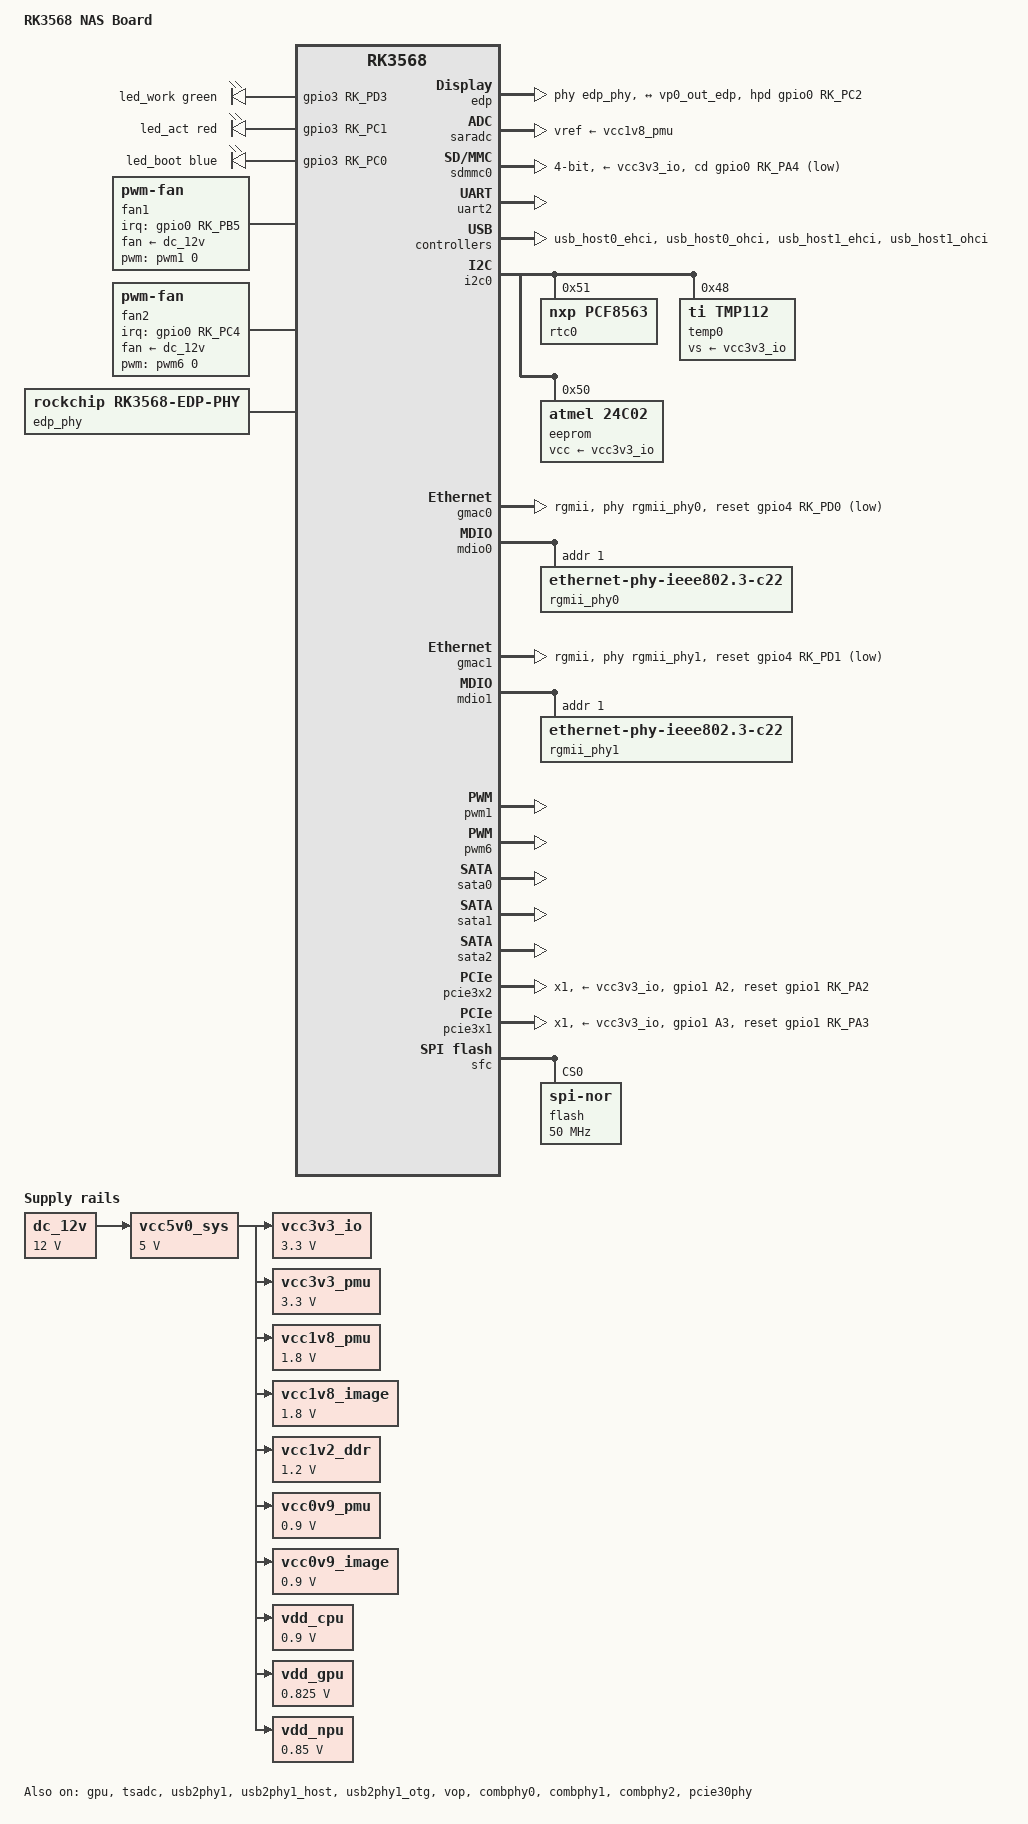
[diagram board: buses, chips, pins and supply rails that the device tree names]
// SPDX-License-Identifier: (GPL-2.0+ OR MIT)
/*
 * Copyright (c) 2021 Rockchip Electronics Co., Ltd.
 *
 */

/dts-v1/;
#include <dt-bindings/gpio/gpio.h>
#include <dt-bindings/leds/common.h>
#include <dt-bindings/pwm/pwm.h>
#include <dt-bindings/pinctrl/rockchip.h>
#include <dt-bindings/soc/rockchip,vop2.h>
#include <dt-bindings/display/drm_mipi_dsi.h>
#include "rk3568.dtsi"

/ {
	model = "RK3568 NAS Board";
	compatible = "nas,rk3568", "rockchip,rk3568";

	aliases {
		mmc0 = &sdmmc0;
		eth0 = &gmac0;
		eth1 = &gmac1;
	};

	chosen: chosen {
		stdout-path = "serial2:1500000n8";
	};

	leds {
		compatible = "gpio-leds";

		led_work: led-0 {
			gpios = <&gpio3 RK_PD3 GPIO_ACTIVE_HIGH>;
			function = LED_FUNCTION_STATUS;
			color = <LED_COLOR_ID_GREEN>;
			linux,default-trigger = "default-on";
			default-state="on";
			pinctrl-names = "default";
			pinctrl-0 = <&led_hb_en>;
		};

		led_act: led-1 {
			gpios = <&gpio3 RK_PC1 GPIO_ACTIVE_HIGH>;
			function = LED_FUNCTION_DISK_ACTIVITY;
			linux,default-trigger = "disk-activity";
			color = <LED_COLOR_ID_RED>;
			pinctrl-names = "default";
			pinctrl-0 = <&led_act_en>;
		};

		led_boot: led-2 {
			gpios = <&gpio3 RK_PC0 GPIO_ACTIVE_HIGH>;
			function = LED_FUNCTION_BOOT;
			color = <LED_COLOR_ID_BLUE>;
			pinctrl-names = "default";
			pinctrl-0 = <&led_boot_en>;
		};
	};


	fan1: pwm-fan1 {
		compatible = "pwm-fan";
		pwms = <&pwm1 0 40000 0>;
		fan-supply = <&dc_12v>;
		interrupt-parent = <&gpio0>;
		interrupts = <RK_PB5 IRQ_TYPE_EDGE_FALLING>;
		pulses-per-revolution = <1>;
	};

	fan2: pwm-fan2 {
		compatible = "pwm-fan";
		pwms = <&pwm6 0 40000 0>;
		fan-supply = <&dc_12v>;
		interrupt-parent = <&gpio0>;
		interrupts = <RK_PC4 IRQ_TYPE_EDGE_FALLING>;
		pulses-per-revolution = <1>;
	};

	dc_12v: dc-12v {
		compatible = "regulator-fixed";
		regulator-name = "dc_12v";
		regulator-always-on;
		regulator-boot-on;
		regulator-min-microvolt = <12000000>;
		regulator-max-microvolt = <12000000>;
	};

	vcc5v0_sys: vcc5v0-sys {
		compatible = "regulator-fixed";
		regulator-name = "vcc5v0_sys";
		regulator-always-on;
		regulator-boot-on;
		regulator-min-microvolt = <5000000>;
		regulator-max-microvolt = <5000000>;
		vin-supply = <&dc_12v>;
	};

	vcc3v3_io: vcc3v3-io {
		compatible = "regulator-fixed";
		regulator-name = "vcc3v3_io";
		regulator-always-on;
		regulator-boot-on;
		regulator-min-microvolt = <3300000>;
		regulator-max-microvolt = <3300000>;
		vin-supply = <&vcc5v0_sys>;
	};

	vcc3v3_pmu: vcc3v3-pmu {
		compatible = "regulator-fixed";
		regulator-name = "vcc3v3_pmu";
		regulator-always-on;
		regulator-boot-on;
		regulator-min-microvolt = <3300000>;
		regulator-max-microvolt = <3300000>;
		vin-supply = <&vcc5v0_sys>;
	}; 

	vcc1v8_pmu: vcc1v8-pmu {
		compatible = "regulator-fixed";
		regulator-name = "vcc1v8_pmu";
		regulator-always-on;
		regulator-boot-on;
		regulator-min-microvolt = <1800000>;
		regulator-max-microvolt = <1800000>;
		vin-supply = <&vcc5v0_sys>;
	}; 

	vcc1v8_image: vcc1v8-image {
		compatible = "regulator-fixed";
		regulator-name = "vcc1v8_image";
		regulator-always-on;
		regulator-boot-on;
		regulator-min-microvolt = <1800000>;
		regulator-max-microvolt = <1800000>;
		vin-supply = <&vcc5v0_sys>;
	}; 

	vcc1v2_ddr: vcc1v2-ddr {
		compatible = "regulator-fixed";
		regulator-name = "vcc1v2_ddr";
		regulator-always-on;
		regulator-boot-on;
		regulator-min-microvolt = <1200000>;
		regulator-max-microvolt = <1200000>;
		vin-supply = <&vcc5v0_sys>;
	}; 

	vcc0v9_pmu: vcc0v9-pmu {
		compatible = "regulator-fixed";
		regulator-name = "vcc0v9_pmu";
		regulator-always-on;
		regulator-boot-on;
		regulator-min-microvolt = <900000>;
		regulator-max-microvolt = <900000>;
		vin-supply = <&vcc5v0_sys>;
	}; 

	vcc0v9_image: vcc0v9-image {
		compatible = "regulator-fixed";
		regulator-name = "vcc0v9_image";
		regulator-always-on;
		regulator-boot-on;
		regulator-min-microvolt = <900000>;
		regulator-max-microvolt = <900000>;
		vin-supply = <&vcc5v0_sys>;
	}; 

	vdd_cpu: vdd-cpu {
		compatible = "regulator-fixed";
		regulator-name = "vdd_cpu";
		regulator-always-on;
		regulator-boot-on;
		regulator-min-microvolt = <900000>;
		regulator-max-microvolt = <900000>;
		vin-supply = <&vcc5v0_sys>;
	}; 

	vdd_gpu: vdd-gpu {
		compatible = "regulator-fixed";
		regulator-name = "vdd_gpu";
		regulator-always-on;
		regulator-boot-on;
		regulator-min-microvolt = <825000>;
		regulator-max-microvolt = <825000>;
		vin-supply = <&vcc5v0_sys>;
	}; 

	vdd_npu: vdd-npu {
		compatible = "regulator-fixed";
		regulator-name = "vdd_npu";
		regulator-always-on;
		regulator-boot-on;
		regulator-min-microvolt = <850000>;
		regulator-max-microvolt = <850000>;
		vin-supply = <&vcc5v0_sys>;
	}; 

edp: edp@fe0c0000 {
	compatible = "rockchip,rk3568-edp";
	reg = <0x0 0xfe0c0000 0x0 0x10000>;
	interrupts = <GIC_SPI 18 IRQ_TYPE_LEVEL_HIGH>;
	clocks = <&pmucru XIN_OSC0_EDPPHY_G>, <&cru PCLK_EDP_CTRL>,
			<&cru CLK_EDP_200M>, <&cru HCLK_VO>;
	clock-names = "dp", "pclk", "spdif", "hclk";
	resets = <&cru SRST_EDP_24M>, <&cru SRST_P_EDP_CTRL>;
	reset-names = "dp", "apb";
	phys = <&edp_phy>;
	phy-names = "dp";
	power-domains = <&power RK3568_PD_VO>;
	status = "okay";

    hpd-gpios = <&gpio0 RK_PC2 GPIO_ACTIVE_HIGH>;

	ports {
		#address-cells = <1>;
		#size-cells = <0>;

		edp_in: port@0 {
			reg = <0>;
			#address-cells = <1>;
			#size-cells = <0>;

			edp_in_vp0: endpoint@0 {
				reg = <0>;
				remote-endpoint = <&vp0_out_edp>;
				status = "okay";
			};
		};
	};
};

edp_phy_grf: syscon@fdcb0000 {
	compatible = "rockchip,rk3568-edp-phy-grf", "syscon", "simple-mfd";
	reg = <0x0 0xfdcb0000 0x0 0x100>;
	clocks = <&cru PCLK_EDPPHY_GRF>;

	edp_phy: edp-phy {
		compatible = "rockchip,rk3568-edp-phy";
		clocks = <&pmucru XIN_OSC0_EDPPHY_G>;
		clock-names = "refclk";
		#phy-cells = <0>;
		status = "okay";
	};
};


};

&cpu0 {
	cpu-supply = <&vdd_cpu>;
};

&cpu1 {
	cpu-supply = <&vdd_cpu>;
};

&cpu2 {
	cpu-supply = <&vdd_cpu>;
};

&cpu3 {
	cpu-supply = <&vdd_cpu>;
};

&gpu {
	mali-supply = <&vdd_gpu>;
	status = "okay";
};

&pmu_io_domains {
	pmuio1-supply = <&vcc3v3_pmu>;
	pmuio2-supply = <&vcc3v3_pmu>;
	vccio1-supply = <&vcc3v3_io>;
	vccio2-supply = <&vcc3v3_io>;
	vccio3-supply = <&vcc3v3_io>;
	vccio4-supply = <&vcc1v8_image>;
	vccio5-supply = <&vcc1v8_image>;
	vccio6-supply = <&vcc3v3_io>;
	vccio7-supply = <&vcc3v3_io>;
	status = "okay";
};

&saradc {
	vref-supply = <&vcc1v8_pmu>;
	status = "okay";
};

&sdmmc0 {
	bus-width = <4>;
	cap-sd-highspeed;
	cd-gpios = <&gpio0 RK_PA4 GPIO_ACTIVE_LOW>;
	disable-wp;
	pinctrl-names = "default";
	pinctrl-0 = <&sdmmc0_bus4 &sdmmc0_clk &sdmmc0_cmd &sdmmc0_det>;
	vmmc-supply = <&vcc3v3_io>;
	vqmmc-supply = <&vcc3v3_io>;
	status = "okay";
};

&tsadc {
	rockchip,hw-tshut-mode = <1>;
	rockchip,hw-tshut-polarity = <0>;
	status = "okay";
};

&uart2 {
	status = "okay";
};


&pinctrl {

	leds {
		led_hb_en: led_hb_en {
			rockchip,pins = <3 RK_PD3 RK_FUNC_GPIO &pcfg_pull_none>;
		};
		led_act_en: led_act_en {
			rockchip,pins = <3 RK_PC1 RK_FUNC_GPIO &pcfg_pull_none>;
		};
		led_boot_en: led_boot_en {
			rockchip,pins = <3 RK_PC0 RK_FUNC_GPIO &pcfg_pull_none>;
		};
	};

	pcie {
		m2pcie_0_rst_h: m2pcie-0-rst-h {
			rockchip,pins = <1 RK_PA3 RK_FUNC_GPIO &pcfg_pull_up_drv_level_5>;
		};

		m2pcie_1_rst_h: m2pcie-1-rst-h {
			rockchip,pins = <1 RK_PA2 RK_FUNC_GPIO &pcfg_pull_up_drv_level_5>;
		};
	};


};

&usb_host0_ehci {
	status = "okay";
};

&usb_host0_ohci {
	status = "okay";
};

&usb_host1_ehci {
	status = "okay";
};

&usb_host1_ohci {
	status = "okay";
};


&usb2phy1 {
	status = "okay";
};

&usb2phy1_host {
	phy-supply = <&vcc5v0_sys>;
	status = "okay";
};

&usb2phy1_otg {
	phy-supply = <&vcc5v0_sys>;
	status = "okay";
};


&vop {
	assigned-clocks = <&cru DCLK_VOP0>, <&cru DCLK_VOP1>;
	assigned-clock-parents = <&pmucru PLL_HPLL>, <&cru PLL_VPLL>;
	status = "okay";
};

&vop_mmu {
	status = "okay";
};

&vp0 {
	vp0_out_edp: endpoint@ROCKCHIP_VOP2_EP_EDP0 {
		reg = <ROCKCHIP_VOP2_EP_EDP0>;
		remote-endpoint = <&edp_in_vp0>;
	};
};

&i2c0 {
	status = "okay";
	rtc0: pcf8563@51 {
		compatible = "nxp,pcf8563";
		reg = <0x51>;
		#clock-cells = <0>;
	};

	temp0: tmp112@48 {
        compatible = "ti,tmp112";
        reg = <0x48>;
        vs-supply = <&vcc3v3_io>;
	};

	eeprom@50 {
		#address-cells = <1>;
   		#size-cells = <0>;
		compatible = "atmel,24c02";
		vcc-supply = <&vcc3v3_io>;
		reg = <0x50>;
		eth0_addr: eth-mac-addr@0{
			reg = <0x0 0x06>;
		};
		eth1_addr: eth-mac-addr@16{
			reg = <0x10 0x06>;
		};
	};
};

&gmac0 {
	snps,reset-gpio = <&gpio4 RK_PD0 GPIO_ACTIVE_LOW>;
	snps,reset-active-low;
	/* Reset time is 20ms, 100ms for rtl8211f */
	snps,reset-delays-us = <0 20000 100000>;

	assigned-clocks = <&cru SCLK_GMAC0_RX_TX>, <&cru SCLK_GMAC0>;
	assigned-clock-parents = <&cru SCLK_GMAC0_RGMII_SPEED>;
	assigned-clock-rates = <0>, <125000000>;
	clock_in_out = "input";
	phy-handle = <&rgmii_phy0>;
	phy-mode = "rgmii";
	tx_delay = <0x22>;
	rx_delay = <0x0e>;
	pinctrl-names = "default";
	pinctrl-0 = <&gmac0_miim
		     &gmac0_tx_bus2
		     &gmac0_rx_bus2
		     &gmac0_rgmii_clk
		     &gmac0_rgmii_bus>;

	nvmem-cells = <&eth0_addr>;
	nvmem-cell-names = "mac-address";
	status = "okay";
};

&mdio0 {
	rgmii_phy0: ethernet-phy@1 {
		compatible = "ethernet-phy-ieee802.3-c22";
		reg = <0x1>;
		status = "okay";
	};
};

&gmac1 {
	snps,reset-gpio = <&gpio4 RK_PD1 GPIO_ACTIVE_LOW>;
	snps,reset-active-low;
	/* Reset time is 20ms, 100ms for rtl8211f */
	snps,reset-delays-us = <0 20000 100000>;

	assigned-clocks = <&cru SCLK_GMAC1_RX_TX>, <&cru SCLK_GMAC1>;
	assigned-clock-parents = <&cru SCLK_GMAC1_RGMII_SPEED>;
	assigned-clock-rates = <0>, <125000000>;
	clock_in_out = "input";
	phy-handle = <&rgmii_phy1>;
	phy-mode = "rgmii";
	tx_delay = <0x22>;
	rx_delay = <0x0e>;

	pinctrl-names = "default";
	pinctrl-0 = <&gmac1m0_miim
				 &gmac1m0_tx_bus2
				 &gmac1m0_rx_bus2
				 &gmac1m0_rgmii_clk
				 &gmac1m0_rgmii_bus>;

	nvmem-cells = <&eth1_addr>;
	nvmem-cell-names = "mac-address";			 		 
	status = "okay";
};


&mdio1 {
	rgmii_phy1: ethernet-phy@1 {
		compatible = "ethernet-phy-ieee802.3-c22";
		reg = <0x1>;
		status = "okay";
	};
};

&pwm1 {
	pinctrl-names = "default";
	pinctrl-0 = <&pwm1m0_pins>;
	status = "okay";
};

&pwm6 {
	pinctrl-names = "default";
	pinctrl-0 = <&pwm6_pins>;
	status = "okay";
};


&combphy0 {
	status = "okay";
};

&combphy1 {
	status = "okay";
};

&combphy2 {
	status = "okay";
};

&sata0 {
	status = "okay";
};

&sata1 {
	status = "okay";
};

&sata2 {
	status = "okay";
};

&pcie3x2 {
	num-lanes = <1>;
	pinctrl-names = "default";
	pinctrl-0 = <&m2pcie_1_rst_h>;
	reset-gpios = <&gpio1 RK_PA2 GPIO_ACTIVE_HIGH>;
	vpcie3v3-supply = <&vcc3v3_io>;
	max-link-speed = <1>;
	status = "okay";
};

&pcie3x1 {
	num-lanes = <1>;
	pinctrl-names = "default";
	pinctrl-0 = <&m2pcie_0_rst_h>;
	reset-gpios = <&gpio1 RK_PA3 GPIO_ACTIVE_HIGH>;
	vpcie3v3-supply = <&vcc3v3_io>;
	max-link-speed = <1>;
	status = "okay";
};

&pcie30phy {
	data-lanes = <1 2>;
	status = "okay";
};

&sfc {
	pinctrl-0 = <&fspi_pins>;
	pinctrl-names = "default";
	#address-cells = <1>;
	#size-cells = <0>;
	status = "okay";

	flash@0 {
		compatible = "jedec,spi-nor";
		reg = <0>;
		spi-max-frequency = <50000000>;
		spi-rx-bus-width = <4>;
		spi-tx-bus-width = <1>;

	};
};
